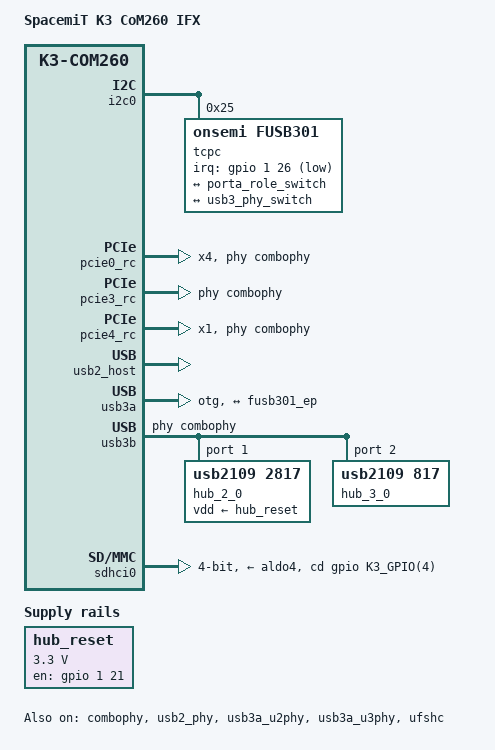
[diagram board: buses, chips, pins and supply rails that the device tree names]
// SPDX-License-Identifier: (GPL-2.0 OR MIT)
/*
 * Copyright (c) 2026 SpacemiT (Hangzhou) Technology Co. Ltd
 * Copyright (c) 2026 Yixun Lan <dlan@kernel.org>
 */
#include <dt-bindings/phy/phy.h>

#include "k3-com260.dtsi"

/ {
	model = "SpacemiT K3 CoM260 IFX";
	compatible = "spacemit,k3-com260-ifx", "spacemit,k3-com260", "spacemit,k3";

	aliases {
		serial0 = &uart0;
		ethernet0 = &eth1;
	};

	chosen {
		stdout-path = "serial0:115200n8";
	};

	hub_reset: hub-reset {
		compatible = "regulator-fixed";
		regulator-name = "hub-reset";
		regulator-min-microvolt = <3300000>;
		regulator-max-microvolt = <3300000>;
		enable-active-high;
		regulator-boot-on;
		gpio = <&gpio 1 21 0>;
	};
};

&combophy {
	spacemit,apmu = <&syscon_apmu 0x14>;
	status = "okay";
};

&i2c0 {
	pinctrl-names = "default";
	pinctrl-0 = <&i2c0_0_cfg>;
	status = "okay";

	tcpc@25 {
		compatible = "onsemi,fusb301";
		reg = <0x25>;
		irq-gpios = <&gpio 1 26 GPIO_ACTIVE_LOW>;
		suspend-vbus-off;
		wakeup-source;
		status = "okay";

		typec_0: connector@0 {
			compatible = "usb-c-connector";
			label = "USB-C";
			data-role = "dual";
			power-role = "dual";
			try-power-role = "sink";
			typec-power-opmode = "default";
			pd-disable;

			ports {
				#address-cells = <0x1>;
				#size-cells = <0x0>;

				port@0 {
					reg = <0x0>;
					fusb301_ep: endpoint {
						remote-endpoint = <&porta_role_switch>;
					};
				};

				port@1 {
					reg = <0x1>;
					fusb301_sw_ep: endpoint {
						remote-endpoint = <&usb3_phy_switch>;
					};
				};
			};
		};
	};
};


&pcie0_rc {
	/* M.2 M-Key 2280 slot */
	pinctrl-names = "default";
	pinctrl-0 = <&pcie0_1_cfg>;
	phys = <&combophy 0 PHY_TYPE_PCIE>, <&combophy 1 PHY_TYPE_PCIE>;
	phy-names = "phy0", "phy1";
	num-lanes = <4>;
	status = "okay";
};

&pcie3_rc {
	/* M.2 M-Key 2230 slot */
	pinctrl-names = "default";
	pinctrl-0 = <&pcie3_0_cfg>;
	phys = <&combophy 4 PHY_TYPE_PCIE>;
	phy-names = "phy4";
	status = "okay";
};

&pcie4_rc {
	/* M.2 E-Key 2230 slot (Wi-Fi/BT) */
	pinctrl-names = "default";
	pinctrl-0 = <&pcie4_1_cfg>;
	phys = <&combophy 5 PHY_TYPE_PCIE>;
	phy-names = "phy5";
	num-lanes = <1>;
	status = "okay";
};

&usb2_host {
	/* M.2 E-Key 2230 slot (Wi-Fi/BT) */
	status = "okay";
};

&usb2_phy {
	status = "okay";
};

&usb3a_u2phy {
	status = "okay";
};

&usb3a_u3phy {
	orientation-switch;
	status = "okay";

	port {
		usb3_phy_switch: endpoint {
			remote-endpoint = <&fusb301_sw_ep>;
		};
	};
};

&usb3a {
	dr_mode = "otg";
	usb-role-switch;
	role-switch-default-mode = "peripheral";
	monitor-vbus;
	reset-on-resume;
	status = "okay";

	ports {
		#address-cells = <1>;
		#size-cells = <0>;
		port@0 {
			reg = <0x0>;
			porta_role_switch: endpoint {
				remote-endpoint = <&fusb301_ep>;
			};
		};
	};
};

&usb3b {
	/* USB 3.0 Type-A 4-port hub */
	phys = <&combophy 2 PHY_TYPE_USB3>, <&usb3b_u2phy>;
	phy-names = "usb3-phy", "usb2-phy";
	reset-on-resume;
	status = "okay";
	#address-cells = <1>;
	#size-cells = <0>;

	/* VL817 USB2.0 hub (4 ports) */
	hub_2_0: hub@1 {
		compatible = "usb2109,2817";
		reg = <1>;
		peer-hub = <&hub_3_0>;
		vdd-supply = <&hub_reset>;
	};

	/* VL817 USB3.0 hub (4 ports) */
	hub_3_0: hub@2 {
		#address-cells = <1>;
		#size-cells = <0>;
		compatible = "usb2109,817";
		reg = <2>;
		peer-hub = <&hub_2_0>;
	};
};

&sdhci0 {
	pinctrl-names = "default","uhs";
	pinctrl-0 = <&mmc1_cfg>;
	pinctrl-1 = <&mmc1_uhs_cfg>;
	bus-width = <4>;
	cd-gpios = <&gpio K3_GPIO(4) GPIO_ACTIVE_HIGH>;
	no-mmc;
	no-sdio;
	disable-wp;
	cap-sd-highspeed;
	vmmc-supply = <&aldo4>;
	vqmmc-supply = <&aldo1>;
	sd-uhs-sdr25;
	sd-uhs-sdr50;
	sd-uhs-sdr104;
	status = "okay";
};

&ufshc {
	status = "okay";
};
